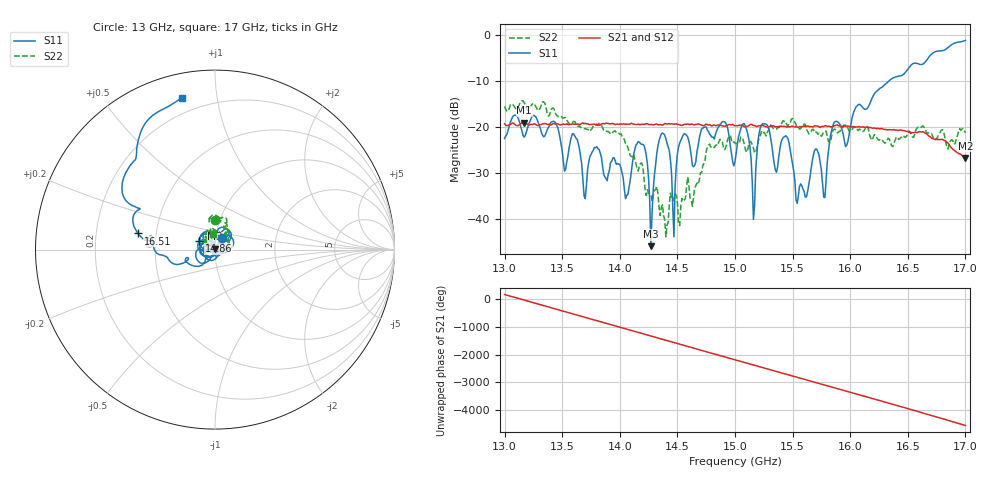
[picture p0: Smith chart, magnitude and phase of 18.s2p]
!Keysight Technologies,P9374A,MY57211807,A.19.30.04
!Date: Friday, May 01, 2026 14:48:38
!Correction: S11(C  2-Port  )
!S21(C  2-Port  )
!S12(C  2-Port  )
!S22(C  2-Port  )
!S2P File: Measurements: S11, S21, S12, S22:
# Hz S  RI  R 50
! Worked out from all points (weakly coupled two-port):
!   401 points, 13 GHz to 17 GHz, reference 50 ohm
!   highest |S21| = -19.09 dB at 13.17 GHz (marker M1); lowest = -26.8 dB at 17 GHz (marker M2)
!   lowest |S11| = -45.9 dB at 14.27 GHz (marker M3), VSWR 1.01, Z = 50.1 + j0.494 ohm
!   |S11| at or under -10 dB: start of sweep to 16.34 GHz
!   |S22| runs from -43.9 to -14.3 dB; largest |S21 - S12| = 0.0035
!   S11 on the Smith chart (normalised r, x): 13 GHz: 1.08, +0.14; 14.86 GHz: 0.83, +0.08; 16.51 GHz: 0.39, +0.09; 17 GHz: 0.12, +0.80
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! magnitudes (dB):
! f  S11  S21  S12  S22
! 13 GHz  -22.5  -19.3  -19.3  -15.5
! 13.17 GHz  -22.2  -19.1  -19.1  -14.7
! 13.67 GHz  -28.2  -19.2  -19.2  -20.3
! 14.06 GHz  -34.8  -19.4  -19.4  -23.8
! 14.18 GHz  -23.7  -19.5  -19.5  -27.9
! 14.27 GHz  -45.9  -19.5  -19.5  -34.6
! 14.34 GHz  -23.1  -19.6  -19.5  -37.3
! 14.47 GHz  -43.9  -19.4  -19.4  -35.4
! 14.55 GHz  -21.8  -19.5  -19.5  -36.2
! 14.86 GHz  -19.9  -19.6  -19.6  -23.2
! 15 GHz  -27.5  -19.8  -19.8  -23.5
! 15.09 GHz  -19.9  -20.1  -20.0  -24.9
! 15.17 GHz  -37.1  -19.7  -19.7  -25.7
! 15.26 GHz  -19.3  -19.9  -19.9  -21.5
! 15.45 GHz  -22.2  -20.0  -20.0  -19.6
! 15.54 GHz  -36.6  -20.0  -20.0  -20.1
! 15.67 GHz  -27.5  -20.0  -20.0  -20.6
! 15.77 GHz  -35.3  -20.0  -19.9  -21.1
! 15.86 GHz  -19.0  -19.8  -19.8  -20.5
! 16.34 GHz  -10.0  -20.6  -20.6  -22.7
! 16.51 GHz  -7.2  -21.2  -21.2  -20.9
! 17 GHz  -1.2  -26.8  -26.8  -21.3
